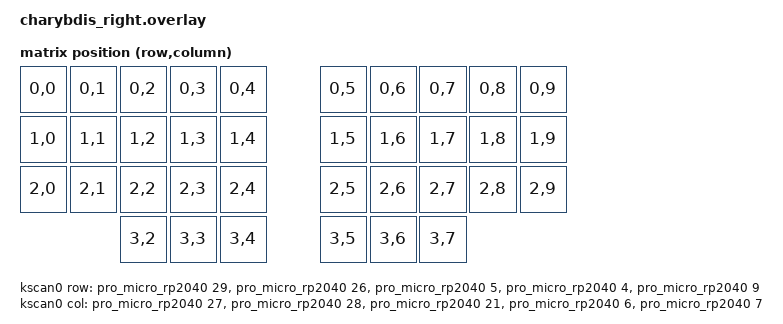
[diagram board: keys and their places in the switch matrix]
/*
 * Copyright (c) 2022 The ZMK Contributors
 * SPDX-License-Identifier: MIT
 * Based on Splinktegrated Pins: https://docs.bastardkb.com/hw/pins.html
 */

#include <dt-bindings/zmk/matrix_transform.h>

/ {
    chosen {
        zmk,kscan = &kscan0;
        zmk,matrix_transform = &default_transform;
        // Pointing device chooses sensor
        zmk,pointing_device = &trackball;
        // Enable split keyboard communication
        zmk,split = &split;
    };

    kscan0: kscan {
        compatible = "zmk,kscan-gpio-matrix";
        label = "KSCAN";
        diode-direction = "col2row";

        // Splinktegrated Pins - Right Half (3x5)
        // Note: Uses the same physical column pins as the left half.
        // ZMK maps these to logical columns 5-9 via col-offset.
        col-gpios
            = <&pro_micro_rp2040 27 (GPIO_ACTIVE_HIGH | GPIO_PULL_DOWN)> // C1 (GP27, Logical 5)
            , <&pro_micro_rp2040 28 (GPIO_ACTIVE_HIGH | GPIO_PULL_DOWN)> // C2 (GP28, Logical 6)
            , <&pro_micro_rp2040 21 (GPIO_ACTIVE_HIGH | GPIO_PULL_DOWN)> // C3 (GP21, Logical 7)
            , <&pro_micro_rp2040 6 (GPIO_ACTIVE_HIGH | GPIO_PULL_DOWN)>  // C4 (GP6, Logical 8)
            , <&pro_micro_rp2040 7 (GPIO_ACTIVE_HIGH | GPIO_PULL_DOWN)>  // C5 (GP7, Logical 9)
            ;

        row-gpios
            = <&pro_micro_rp2040 29 GPIO_ACTIVE_HIGH> // R1 (GP29)
            , <&pro_micro_rp2040 26 GPIO_ACTIVE_HIGH> // R2 (GP26)
            , <&pro_micro_rp2040 5 GPIO_ACTIVE_HIGH>  // R3 (GP5)
            , <&pro_micro_rp2040 4 GPIO_ACTIVE_HIGH>  // R4 (GP4)
            , <&pro_micro_rp2040 9 GPIO_ACTIVE_HIGH>  // R5 (GP9, Thumb Cluster row)
            ;
    };

    default_transform: matrix_transform {
        compatible = "zmk,matrix-transform";
        rows = <4>; // 3 Main rows + 1 Thumb row mapped to Row R5/GP9
        columns = <10>; // 5 cols per side
        col-offset = <5>; // Right half starts at logical column 5
        // Map for the *entire* keyboard, ZMK handles splitting
        map = <
        RC(0,0) RC(0,1) RC(0,2) RC(0,3) RC(0,4)          RC(0,5) RC(0,6) RC(0,7) RC(0,8) RC(0,9)
        RC(1,0) RC(1,1) RC(1,2) RC(1,3) RC(1,4)          RC(1,5) RC(1,6) RC(1,7) RC(1,8) RC(1,9)
        RC(2,0) RC(2,1) RC(2,2) RC(2,3) RC(2,4)          RC(2,5) RC(2,6) RC(2,7) RC(2,8) RC(2,9)
                        RC(3,2) RC(3,3) RC(3,4)          RC(3,5) RC(3,6) RC(3,7) // Thumbs map to Row 3
        >;
    };

    // Trackball sensor on the right side using SPI (Splinktegrated Pins)
    trackball: trackball {
        compatible = "zmk,input-device-pmw3610";
        label = "TRACKBALL";
        spi = <&spi1>; // Use SPI1 (Pins GP20, GP22, GP23)
        cs-gpios = <&pro_micro_rp2040 16 (GPIO_ACTIVE_LOW | GPIO_PULL_UP)>; // SS (GP16)
        // motion-gpios = <&pro_micro_rp2040 ?? >; // MOTION pin not defined in Splinktegrated TRCK section
        // reset-gpios = <&pro_micro_rp2040 ?? >; // RESET pin not defined / conflicts with matrix C3 (GP21)
        tmod-enable-gpios = <&pro_micro_rp2040 15 (GPIO_ACTIVE_HIGH | GPIO_PULL_DOWN)>; // TMOD (GP15 - Assumed standard, not listed in TRCK)
    };

    // Define SPI1 pins for trackball (Splinktegrated)
    &spi1 {
        status = "okay";
        sck-pin = <22>;   // SC (GP22)
        mosi-pin = <23>;  // MO (GP23)
        miso-pin = <20>;  // MI (GP20)
    };

    split: split {
        compatible = "zmk,split-uart";
        label = "SPLIT";
        uart = <&uart0>; // Use UART0 for split communication
        // WARNING: Splinktegrated docs only list GP1 for Serial.
        // Assuming standard GP0/GP1 for UART0. Verify your TRRS wiring.
    };

    // Define UART pins for split communication (Assumed Standard)
    &uart0 {
        status = "okay";
        tx-pin = <0>; // TX Pin GPIO0
        rx-pin = <1>; // RX Pin GPIO1
    };
}; 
